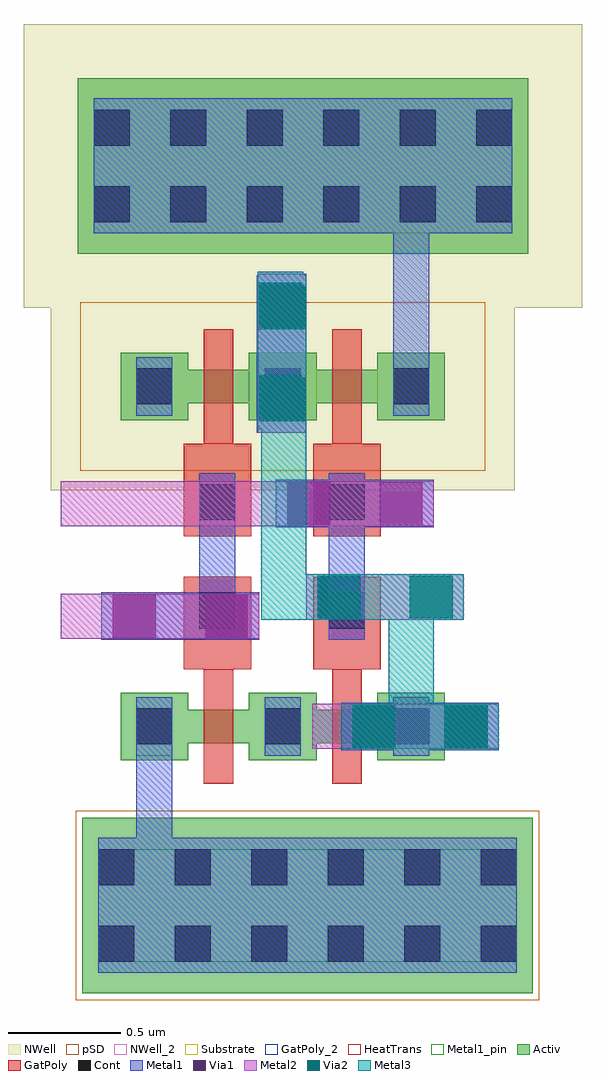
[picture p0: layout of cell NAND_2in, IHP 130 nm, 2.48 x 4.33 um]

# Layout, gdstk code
from math import pi, radians
import gdstk
lib = gdstk.Library(unit=1e-6, precision=1e-09)
def R(c, l, rs):  # rectangles x0, y0, x1, y1
    for r in rs: c.add(gdstk.rectangle(r[:2], r[2:], *l))
def A(c, l, x, y, w, h, nx, ny, dx, dy):  # array of equal rectangles
    R(c, l, [(x+i*dx, y+j*dy, x+i*dx+w, y+j*dy+h) for i in range(nx) for j in range(ny)])
Activ = (1, 0)
GatPoly = (5, 0)
GatPoly_2 = (5, 2)
Cont = (6, 0)
Metal1 = (8, 0)
Metal1_pin = (8, 2)
Metal2 = (10, 0)
pSD = (14, 0)
Via1 = (19, 0)
Via2 = (29, 0)
Metal3 = (30, 0)
NWell = (31, 0)
NWell_2 = (31, 2)
Substrate = (40, 0)
HeatTrans = (51, 0)

nmos = lib.new_cell('nmos')
R(nmos, Activ, [(0,0,0.3,0.3), (0.57,0,0.87,0.3), (0,0.075,0.87,0.225)])
R(nmos, GatPoly, [(0.37,-0.105,0.5,0.405)])
R(nmos, GatPoly_2, [(0.37,-0.105,0.5,0.405)])
R(nmos, Cont, [(0.07,0.07,0.23,0.23), (0.64,0.07,0.8,0.23)])
R(nmos, Metal1, [(0.07,0.02,0.23,0.28), (0.64,0.02,0.8,0.28)])
R(nmos, Metal1_pin, [(0.07,0.02,0.23,0.28), (0.64,0.02,0.8,0.28)])
R(nmos, HeatTrans, [(0.37,-0.105,0.5,0.405)])
nmos.add(gdstk.Label('nmos', (0.435,0.15), layer=63, texttype=0))
nmos.add(gdstk.Label('nmos', (0.435,0.15), layer=51, texttype=0))

pmos = lib.new_cell('pmos')
R(pmos, Activ, [(0,0,0.3,0.3), (0.57,0,0.87,0.3), (0,0.075,0.87,0.225)])
R(pmos, GatPoly, [(0.37,-0.105,0.5,0.405), (0.37,-0.105,0.5,0.405)])
R(pmos, Cont, [(0.07,0.07,0.23,0.23), (0.64,0.07,0.8,0.23)])
R(pmos, Metal1, [(0.07,0.02,0.23,0.28), (0.07,0.02,0.23,0.28), (0.64,0.02,0.8,0.28), (0.64,0.02,0.8,0.28)])
R(pmos, pSD, [(-0.18,-0.225,1.05,0.525)])
R(pmos, NWell, [(-0.31,-0.31,1.18,0.61)])
R(pmos, Substrate, [(0.57,0,0.87,0.3)])
R(pmos, HeatTrans, [(0.37,-0.105,0.5,0.405)])
pmos.add(gdstk.Label('pmos', (0.435,0.15), layer=63, texttype=0))
pmos.add(gdstk.Label('pmos', (0.435,0.15), layer=51, texttype=0))

ntap1 = lib.new_cell('ntap1')
R(ntap1, Activ, [(0,0,2,0.78)])
A(ntap1, Cont, 0.07, 0.14, 0.16, 0.16, 6, 2, 0.34, 0.34)
R(ntap1, Metal1, [(0.07,0.09,1.93,0.69)])
R(ntap1, Metal1_pin, [(0.07,0.09,1.93,0.69), (0.07,0.14,1.93,0.64)])
R(ntap1, NWell, [(-0.24,-0.24,2.24,1.02), (0,0,2,0.78)])
R(ntap1, NWell_2, [(0,0,2,0.78)])
ntap1.add(gdstk.Label('well', (1,0.01), layer=63, texttype=0))
ntap1.add(gdstk.Label('well', (1,0.01), layer=31, texttype=0))

ptap1 = lib.new_cell('ptap1')
R(ptap1, Activ, [(0,0,2,0.78)])
A(ptap1, Cont, 0.07, 0.14, 0.16, 0.16, 6, 2, 0.34, 0.34)
R(ptap1, Metal1, [(0.07,0.09,1.93,0.69), (0.07,0.14,1.93,0.64)])
R(ptap1, Metal1_pin, [(0.07,0.14,1.93,0.64)])
R(ptap1, pSD, [(-0.03,-0.03,2.03,0.81)])
R(ptap1, Substrate, [(0,0,2,0.78)])
ptap1.add(gdstk.Label('sub!', (1,0.01), layer=63, texttype=0))
ptap1.add(gdstk.Label('sub!', (1,0.01), layer=40, texttype=0))

via = lib.new_cell('Via')
R(via, GatPoly, [(-0.15,-0.15,0.15,0.15)])
R(via, Cont, [(-0.08,-0.08,0.08,0.08)])
R(via, Metal1, [(-0.13,-0.08,0.13,0.08)])

via_2 = lib.new_cell('Via$2')
R(via_2, Metal1, [(-0.105,-0.35,0.105,0.35)])
R(via_2, Metal2, [(-0.1,-0.35,0.1,0.35)])
R(via_2, Via1, [(-0.095,-0.3,0.095,-0.11), (-0.095,0.11,0.095,0.3)])

via_7 = lib.new_cell('Via$7')
R(via_7, Metal2, [(-0.35,-0.1,0.35,0.1)])
R(via_7, Via2, [(-0.3,-0.095,-0.11,0.095), (0.11,-0.095,0.3,0.095)])
R(via_7, Metal3, [(-0.35,-0.1,0.35,0.1)])

via_4 = lib.new_cell('Via$4')
R(via_4, Metal2, [(-0.1,-0.35,0.1,0.35)])
R(via_4, Via2, [(-0.095,-0.3,0.095,-0.11), (-0.095,0.11,0.095,0.3)])
R(via_4, Metal3, [(-0.1,-0.35,0.1,0.35)])

nand_2in = lib.new_cell('NAND_2in')
R(nand_2in, GatPoly, [(6.865,8.395,7.165,8.505), (7.44,8.395,7.74,8.505), (6.865,9.285,7.165,9.395), (7.44,9.285,7.74,9.395)])
R(nand_2in, Metal3, [(7.21,8.615,7.41,8.645)])
nand_2in.add(gdstk.FlexPath([(6.735,8.01),(6.735,7.645)], 0.16, ends="flush", simple_path=True, layer=8, datatype=0))  # Metal1
nand_2in.add(gdstk.FlexPath([(7.875,9.65),(7.875,10.33)], 0.16, ends="flush", simple_path=True, layer=8, datatype=0))  # Metal1
nand_2in.add(gdstk.FlexPath([(7.015,9.005),(7.015,8.785)], 0.16, ends="flush", simple_path=True, layer=8, datatype=0))  # Metal1
nand_2in.add(gdstk.FlexPath([(7.59,8.655),(7.59,9.005)], 0.16, ends="flush", simple_path=True, layer=8, datatype=0))  # Metal1
nand_2in.add(gdstk.FlexPath([(7.015,8.87),(7.015,8.87)], 0.16, ends="flush", simple_path=True, layer=8, datatype=0))  # Metal1
nand_2in.add(gdstk.FlexPath([(7.915,8.14),(7.915,8.14)], 0.16, ends="flush", simple_path=True, layer=8, datatype=0))  # Metal1
nand_2in.add(gdstk.FlexPath([(7.02,9.395),(7.02,9.395)], 0.16, ends="flush", simple_path=True, layer=5, datatype=0))  # GatPoly
nand_2in.add(gdstk.FlexPath([(7.31,9.795),(7.31,9.795)], 0.2, ends="flush", simple_path=True, layer=10, datatype=0))  # Metal2
nand_2in.add(gdstk.FlexPath([(7.295,9.81),(7.295,9.81)], 0.2, ends="flush", simple_path=True, layer=10, datatype=0))  # Metal2
nand_2in.add(gdstk.FlexPath([(7.915,8.14),(7.915,8.14)], 0.2, ends="flush", simple_path=True, layer=10, datatype=0))  # Metal2
nand_2in.add(gdstk.FlexPath([(8.265,8.14),(7.435,8.14)], 0.2, ends="flush", simple_path=True, layer=10, datatype=0))  # Metal2
nand_2in.add(gdstk.FlexPath([(7.2,8.63),(6.32,8.63)], 0.2, ends="flush", simple_path=True, layer=10, datatype=0))  # Metal2
nand_2in.add(gdstk.FlexPath([(7.975,9.13),(6.32,9.13)], 0.2, ends="flush", simple_path=True, layer=10, datatype=0))  # Metal2
nand_2in.add(gdstk.FlexPath([(7.31,9.59),(7.31,8.645)], 0.2, ends="flush", simple_path=True, layer=30, datatype=0))  # Metal3
nand_2in.add(gdstk.FlexPath([(7.875,8.14),(7.875,8.815)], 0.2, ends="flush", simple_path=True, layer=30, datatype=0))  # Metal3
nand_2in.add(gdstk.Reference(nmos, (6.585,7.99)))
nand_2in.add(gdstk.Reference(pmos, (6.585,9.5)))
nand_2in.add(gdstk.Reference(nmos, (7.155,7.99)))
nand_2in.add(gdstk.Reference(ntap1, (6.395,10.24)))
nand_2in.add(gdstk.Reference(ptap1, (6.415,6.955)))
nand_2in.add(gdstk.Reference(via, (7.015,9.135), rotation=pi/2))
nand_2in.add(gdstk.Reference(pmos, (7.155,9.5)))
nand_2in.add(gdstk.Reference(via, (7.59,9.135), rotation=pi/2))
nand_2in.add(gdstk.Reference(via, (7.59,8.655), rotation=3*pi/2))
nand_2in.add(gdstk.Reference(via, (7.015,8.655), rotation=3*pi/2))
nand_2in.add(gdstk.Reference(via_2, (6.85,8.63), rotation=3*pi/2))
nand_2in.add(gdstk.Reference(via_2, (7.625,9.13), rotation=3*pi/2))
nand_2in.add(gdstk.Reference(via_7, (7.76,8.715)))
nand_2in.add(gdstk.Reference(via_4, (7.31,9.795)))
nand_2in.add(gdstk.Reference(via_2, (7.295,9.795)))
nand_2in.add(gdstk.Reference(via_4, (7.295,9.81)))
nand_2in.add(gdstk.Reference(via_2, (7.305,9.8)))
nand_2in.add(gdstk.Reference(via_2, (7.915,8.14), rotation=3*pi/2))
nand_2in.add(gdstk.Reference(via_4, (7.915,8.14), rotation=3*pi/2))

lib.write_gds('NAND_2in.gds')
